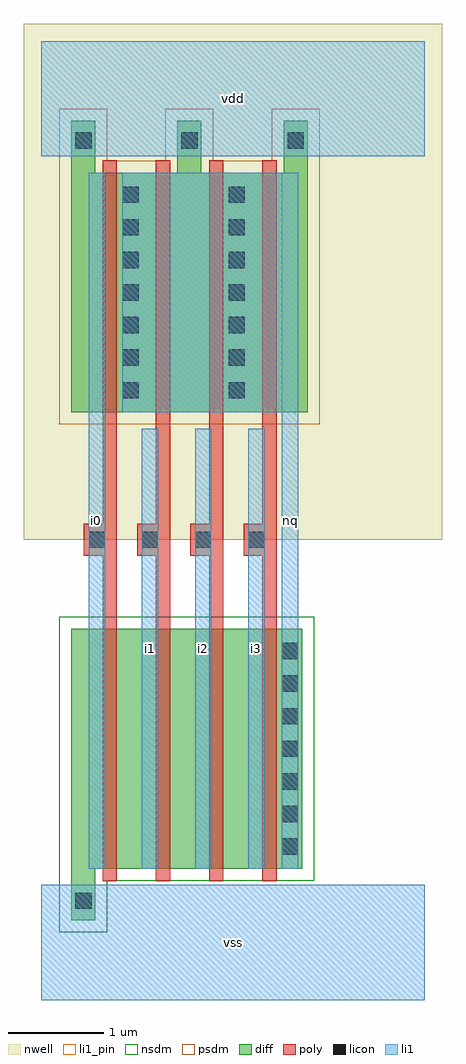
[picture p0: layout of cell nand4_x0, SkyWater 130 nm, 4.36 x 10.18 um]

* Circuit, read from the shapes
.subckt nand4_x0 i0 i1 i2 i3 nq vdd vss
XM1 n1 i0 vss VSUBS sky130_fd_pr__nfet_01v8 w=2.5 l=0.15
XM2 n2 i1 n1 VSUBS sky130_fd_pr__nfet_01v8 w=2.5 l=0.15
XM3 n3 i2 n2 VSUBS sky130_fd_pr__nfet_01v8 w=2.5 l=0.15
XM4 nq i3 n3 VSUBS sky130_fd_pr__nfet_01v8 w=2.5 l=0.15
XM5 nq i0 vdd n4 sky130_fd_pr__pfet_01v8 w=2.5 l=0.15
XM6 vdd i1 nq n4 sky130_fd_pr__pfet_01v8 w=2.5 l=0.15
XM7 nq i2 vdd n4 sky130_fd_pr__pfet_01v8 w=2.5 l=0.15
XM8 vdd i3 nq n4 sky130_fd_pr__pfet_01v8 w=2.5 l=0.15
.ends

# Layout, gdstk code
import gdstk
lib = gdstk.Library(unit=1e-6, precision=1e-09)
def R(c, l, rs):  # rectangles x0, y0, x1, y1
    for r in rs: c.add(gdstk.rectangle(r[:2], r[2:], *l))
def A(c, l, x, y, w, h, nx, ny, dx, dy):  # array of equal rectangles
    R(c, l, [(x+i*dx, y+j*dy, x+i*dx+w, y+j*dy+h) for i in range(nx) for j in range(ny)])
def P(c, l, *ps):  # polygons
    for p in ps: c.add(gdstk.Polygon(p, *l))
nwell = (64, 20)
diff = (65, 20)
poly = (66, 20)
licon = (66, 44)
li1_pin = (67, 16)
li1 = (67, 20)
nsdm = (93, 44)
psdm = (94, 20)

nand4_x0 = lib.new_cell('nand4_x0')
R(nand4_x0, nwell, [(-0.18,4.8,4.18,10.18)])
P(nand4_x0, diff, [(0.315,0.83),(0.315,3.87),(2.72,3.87),(2.72,1.37),(0.565,1.37),(0.565,0.83)],
  [(0.315,6.13),(0.315,9.17),(0.565,9.17),(0.565,8.63),(1.42,8.63),(1.42,9.17),(1.67,9.17),(1.67,8.63),(2.53,8.63),(2.53,9.17),(2.78,9.17),(2.78,6.13)])
P(nand4_x0, poly, [(0.64,1.24),(0.64,4.635),(0.445,4.635),(0.445,4.965),(0.64,4.965),(0.64,8.76),(0.79,8.76),(0.79,1.24)],
  [(1.195,1.24),(1.195,4.635),(1,4.635),(1,4.965),(1.195,4.965),(1.195,8.76),(1.345,8.76),(1.345,1.24)],
  [(1.75,1.24),(1.75,4.635),(1.555,4.635),(1.555,4.965),(1.75,4.965),(1.75,8.76),(1.9,8.76),(1.9,1.24)],
  [(2.305,1.24),(2.305,4.635),(2.11,4.635),(2.11,4.965),(2.305,4.965),(2.305,8.76),(2.455,8.76),(2.455,1.24)])
A(nand4_x0, licon, 2.51, 1.515, 0.17, 0.17, 1, 7, 0, 0.34)
A(nand4_x0, licon, 0.495, 4.715, 0.17, 0.17, 4, 1, 0.555, 0)
A(nand4_x0, licon, 0.845, 6.275, 0.17, 0.17, 1, 7, 0, 0.34)
A(nand4_x0, licon, 1.955, 6.275, 0.17, 0.17, 1, 7, 0, 0.34)
R(nand4_x0, licon, [(0.355,0.95,0.525,1.12), (0.355,8.88,0.525,9.05), (1.46,8.88,1.63,9.05), (2.57,8.88,2.74,9.05)])
A(nand4_x0, li1_pin, 1.05, 1.37, 0.17, 4.59, 3, 1, 0.555, 0)
R(nand4_x0, li1_pin, [(0,0,4,1.2), (0.495,1.37,0.665,8.63), (2.51,1.37,2.68,8.63), (0,8.8,4,10)])
A(nand4_x0, li1, 1.05, 1.37, 0.17, 4.59, 3, 1, 0.555, 0)
R(nand4_x0, li1, [(0,0,4,1.2), (0.495,1.37,0.665,8.63), (0,8.8,4,10)])
P(nand4_x0, li1, [(2.51,1.37),(2.51,6.13),(0.845,6.13),(0.845,8.63),(2.68,8.63),(2.68,1.37)])
P(nand4_x0, nsdm, [(0.19,0.705),(0.19,3.995),(2.845,3.995),(2.845,1.245),(0.69,1.245),(0.69,0.705)])
P(nand4_x0, psdm, [(0.19,6.005),(0.19,9.295),(0.69,9.295),(0.69,8.755),(1.295,8.755),(1.295,9.295),(1.795,9.295),(1.795,8.755),(2.405,8.755),(2.405,9.295),(2.905,9.295),(2.905,6.005)])
nand4_x0.add(gdstk.Label('vss', (2,0.6), layer=67, texttype=16))
nand4_x0.add(gdstk.Label('vdd', (2,9.4), layer=67, texttype=16))
nand4_x0.add(gdstk.Label('i0', (0.58,5), layer=67, texttype=16))
nand4_x0.add(gdstk.Label('nq', (2.595,5), layer=67, texttype=16))
nand4_x0.add(gdstk.Label('i1', (1.135,3.665), layer=67, texttype=16))
nand4_x0.add(gdstk.Label('i2', (1.69,3.665), layer=67, texttype=16))
nand4_x0.add(gdstk.Label('i3', (2.245,3.665), layer=67, texttype=16))
nand4_x0.add(gdstk.Label('vss', (2,0.6), layer=67, texttype=16))
nand4_x0.add(gdstk.Label('vdd', (2,9.4), layer=67, texttype=16))
nand4_x0.add(gdstk.Label('i0', (0.58,5), layer=67, texttype=16))
nand4_x0.add(gdstk.Label('nq', (2.595,5), layer=67, texttype=16))
nand4_x0.add(gdstk.Label('i1', (1.135,3.665), layer=67, texttype=16))
nand4_x0.add(gdstk.Label('i2', (1.69,3.665), layer=67, texttype=16))
nand4_x0.add(gdstk.Label('i3', (2.245,3.665), layer=67, texttype=16))

lib.write_gds('nand4_x0.gds')
